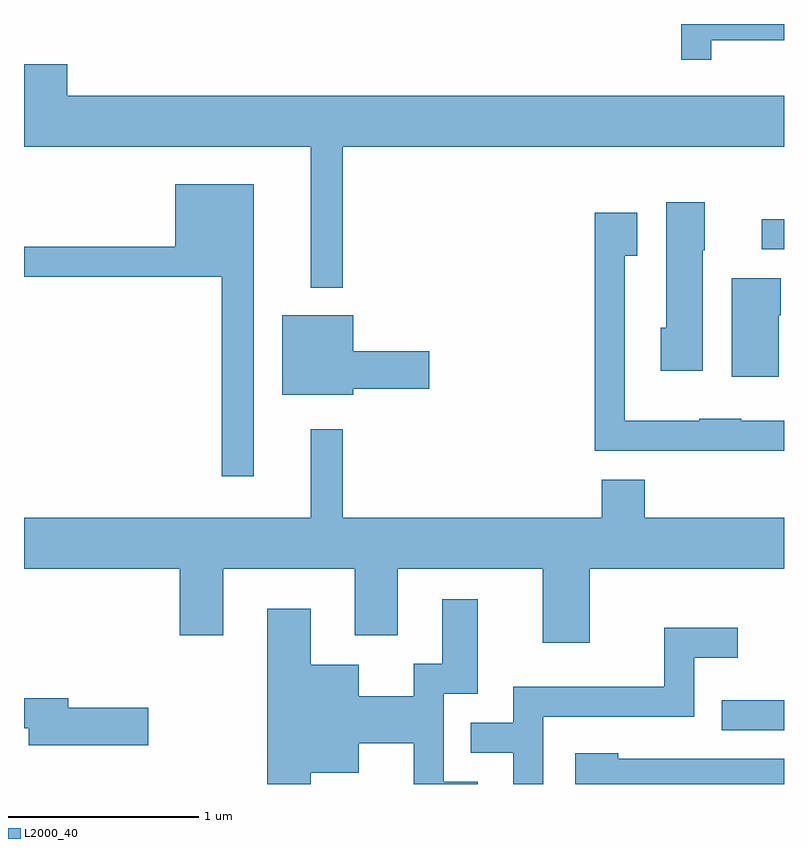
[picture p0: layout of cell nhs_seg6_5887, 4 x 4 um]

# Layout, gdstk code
import gdstk
lib = gdstk.Library(unit=1e-6, precision=1e-09)
def R(c, l, rs):  # rectangles x0, y0, x1, y1
    for r in rs: c.add(gdstk.rectangle(r[:2], r[2:], *l))
def P(c, l, *ps):  # polygons
    for p in ps: c.add(gdstk.Polygon(p, *l))
L2000_40 = (2000, 40)

nhs_seg6_5887 = lib.new_cell('nhs_seg6_5887')
R(nhs_seg6_5887, L2000_40, [(367.283,1622.446,367.611,1622.604), (367.493,1624.976,367.611,1625.134)])
P(nhs_seg6_5887, L2000_40, [(367.229,1626.076),(367.611,1626.076),(367.611,1626.162),(367.071,1626.162),(367.071,1625.973),(367.229,1625.973)],
  [(363.611,1625.949),(363.611,1625.516),(365.121,1625.516),(365.121,1624.773),(365.289,1624.773),(365.289,1625.516),(367.611,1625.516),(367.611,1625.784),(363.839,1625.784),(363.839,1625.949)],
  [(364.819,1625.319),(364.406,1625.319),(364.406,1624.989),(363.611,1624.989),(363.611,1624.831),(364.651,1624.831),(364.651,1623.783),(364.819,1623.783)],
  [(367.184,1624.97),(367.194,1624.97),(367.194,1625.224),(366.991,1625.224),(366.991,1624.564),(366.961,1624.564),(366.961,1624.336),(367.184,1624.336)],
  [(367.611,1624.074),(367.385,1624.074),(367.385,1624.084),(367.165,1624.084),(367.165,1624.074),(366.774,1624.074),(366.774,1624.941),(366.839,1624.941),(366.839,1625.169),(366.616,1625.169),(366.616,1623.916),(367.611,1623.916)],
  [(367.584,1624.63),(367.594,1624.63),(367.594,1624.824),(367.336,1624.824),(367.336,1624.306),(367.584,1624.306)],
  [(365.344,1624.241),(365.744,1624.241),(365.744,1624.439),(365.344,1624.439),(365.344,1624.629),(364.971,1624.629),(364.971,1624.211),(365.344,1624.211)],
  [(366.589,1623.296),(367.611,1623.296),(367.611,1623.564),(366.879,1623.564),(366.879,1623.764),(366.651,1623.764),(366.651,1623.564),(365.289,1623.564),(365.289,1624.028),(365.121,1624.028),(365.121,1623.564),(363.611,1623.564),(363.611,1623.296),(364.431,1623.296),(364.431,1622.946),(364.659,1622.946),(364.659,1623.296),(365.351,1623.296),(365.351,1622.946),(365.579,1622.946),(365.579,1623.296),(366.341,1623.296),(366.341,1622.906),(366.589,1622.906)],
  [(365.119,1622.221),(365.374,1622.221),(365.374,1622.376),(365.661,1622.376),(365.661,1622.162),(365.999,1622.162),(365.999,1622.174),(365.819,1622.174),(365.819,1622.636),(365.999,1622.636),(365.999,1623.134),(365.811,1623.134),(365.811,1622.794),(365.661,1622.794),(365.661,1622.624),(365.374,1622.624),(365.374,1622.789),(365.119,1622.789),(365.119,1623.084),(364.891,1623.084),(364.891,1622.162),(365.119,1622.162)],
  [(366.344,1622.516),(367.139,1622.516),(367.139,1622.826),(367.368,1622.826),(367.368,1622.984),(366.981,1622.984),(366.981,1622.674),(366.186,1622.674),(366.186,1622.484),(365.963,1622.484),(365.963,1622.326),(366.186,1622.326),(366.186,1622.162),(366.344,1622.162)],
  [(364.264,1622.564),(363.844,1622.564),(363.844,1622.614),(363.611,1622.614),(363.611,1622.456),(363.636,1622.456),(363.636,1622.366),(364.264,1622.366)],
  [(367.611,1622.294),(366.739,1622.294),(366.739,1622.324),(366.511,1622.324),(366.511,1622.162),(367.611,1622.162)])

lib.write_gds('nhs_seg6_5887.gds')
